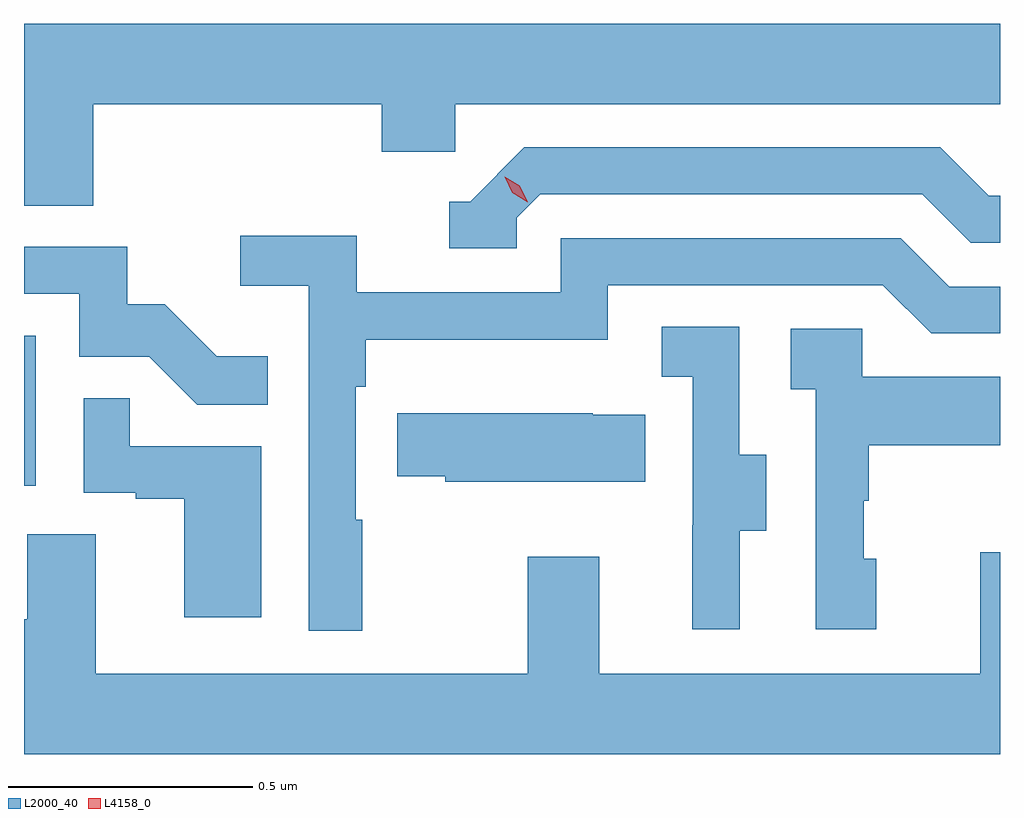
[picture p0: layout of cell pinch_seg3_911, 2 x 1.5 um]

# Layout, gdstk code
import gdstk
lib = gdstk.Library(unit=1e-6, precision=1e-09)
def R(c, l, rs):  # rectangles x0, y0, x1, y1
    for r in rs: c.add(gdstk.rectangle(r[:2], r[2:], *l))
def P(c, l, *ps):  # polygons
    for p in ps: c.add(gdstk.Polygon(p, *l))
L2000_40 = (2000, 40)
L4158_0 = (4158, 0)

pinch_seg3_911 = lib.new_cell('pinch_seg3_911')
R(pinch_seg3_911, L2000_40, [(875.638,702.798,875.662,703.105)])
P(pinch_seg3_911, L2000_40, [(875.78,703.58),(876.371,703.58),(876.371,703.482),(876.522,703.482),(876.522,703.58),(877.638,703.58),(877.638,703.744),(875.638,703.744),(875.638,703.372),(875.78,703.372)],
  [(876.648,703.347),(876.696,703.395),(877.479,703.395),(877.578,703.296),(877.638,703.296),(877.638,703.392),(877.615,703.392),(877.516,703.491),(876.663,703.491),(876.552,703.38),(876.509,703.38),(876.509,703.284),(876.648,703.284)],
  [(876.331,702.728),(876.318,702.728),(876.318,703.001),(876.338,703.001),(876.338,703.097),(876.834,703.097),(876.834,703.209),(877.398,703.209),(877.497,703.11),(877.638,703.11),(877.638,703.206),(877.534,703.206),(877.435,703.305),(876.738,703.305),(876.738,703.194),(876.32,703.194),(876.32,703.31),(876.081,703.31),(876.081,703.208),(876.222,703.208),(876.222,702.501),(876.331,702.501)],
  [(876.137,703.063),(876.033,703.063),(875.926,703.17),(875.85,703.17),(875.85,703.287),(875.638,703.287),(875.638,703.191),(875.751,703.191),(875.751,703.062),(875.895,703.062),(875.993,702.964),(876.137,702.964)],
  [(877.105,702.706),(877.159,702.706),(877.159,702.861),(877.104,702.861),(877.104,703.124),(876.945,703.124),(876.945,703.021),(877.008,703.021),(877.008,702.717),(877.007,702.717),(877.007,702.504),(877.105,702.504)],
  [(877.384,702.648),(877.359,702.648),(877.359,702.767),(877.369,702.767),(877.369,702.881),(877.638,702.881),(877.638,703.021),(877.356,703.021),(877.356,703.119),(877.209,703.119),(877.209,702.995),(877.26,702.995),(877.26,702.504),(877.384,702.504)],
  [(876.124,702.879),(875.855,702.879),(875.855,702.977),(875.76,702.977),(875.76,702.783),(875.867,702.783),(875.867,702.771),(875.966,702.771),(875.966,702.528),(876.124,702.528)],
  [(876.911,702.943),(876.803,702.943),(876.803,702.946),(876.403,702.946),(876.403,702.817),(876.501,702.817),(876.501,702.806),(876.911,702.806)],
  [(877.638,702.661),(877.598,702.661),(877.598,702.412),(876.817,702.412),(876.817,702.652),(876.67,702.652),(876.67,702.412),(875.785,702.412),(875.785,702.698),(875.645,702.698),(875.645,702.524),(875.638,702.524),(875.638,702.248),(877.638,702.248)])
P(pinch_seg3_911, L4158_0, [(876.67,703.379),(876.639,703.398),(876.623,703.431),(876.623,703.431),(876.623,703.431),(876.654,703.412),(876.67,703.38),(876.67,703.379)])

lib.write_gds('pinch_seg3_911.gds')
